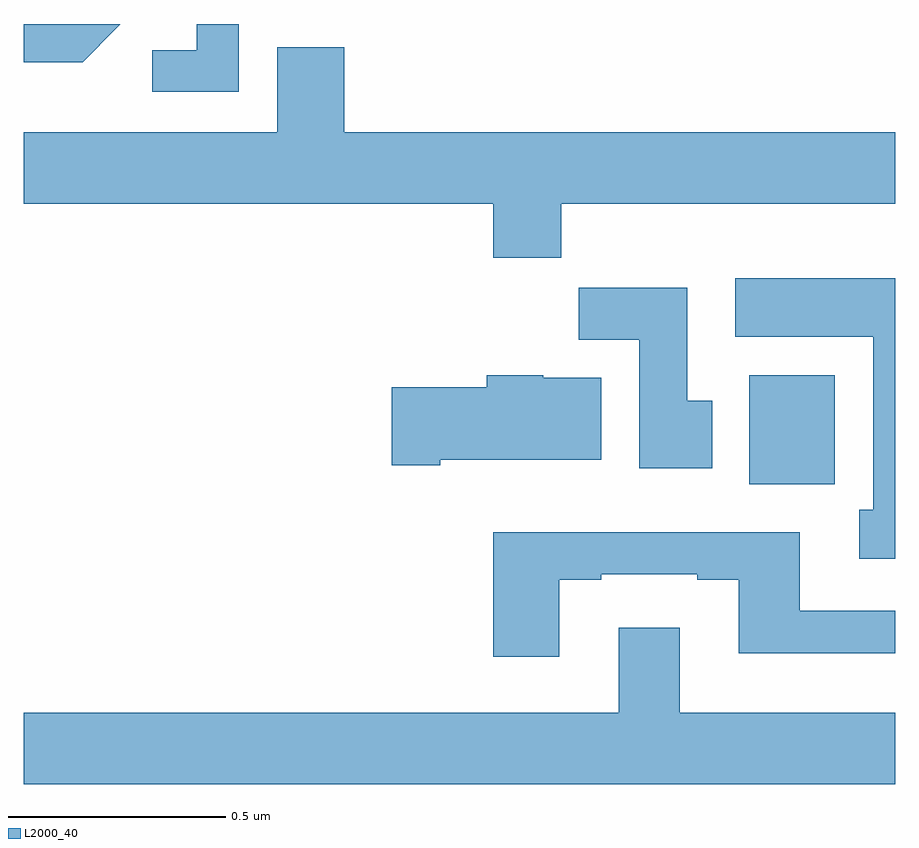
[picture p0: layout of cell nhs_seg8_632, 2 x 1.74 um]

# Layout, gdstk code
import gdstk
lib = gdstk.Library(unit=1e-6, precision=1e-09)
def R(c, l, rs):  # rectangles x0, y0, x1, y1
    for r in rs: c.add(gdstk.rectangle(r[:2], r[2:], *l))
def P(c, l, *ps):  # polygons
    for p in ps: c.add(gdstk.Polygon(p, *l))
L2000_40 = (2000, 40)

nhs_seg8_632 = lib.new_cell('nhs_seg8_632')
R(nhs_seg8_632, L2000_40, [(120.665,1127.844,120.861,1128.094)])
P(nhs_seg8_632, L2000_40, [(119.215,1128.893),(119.222,1128.9),(119,1128.9),(119,1128.812),(119.135,1128.812)],
  [(119.493,1128.9),(119.397,1128.9),(119.397,1128.84),(119.295,1128.84),(119.295,1128.744),(119.493,1128.744)],
  [(120.233,1128.488),(121,1128.488),(121,1128.652),(119.735,1128.652),(119.735,1128.847),(119.582,1128.847),(119.582,1128.652),(119,1128.652),(119,1128.488),(120.077,1128.488),(120.077,1128.364),(120.233,1128.364)],
  [(121,1128.316),(120.633,1128.316),(120.633,1128.182),(120.95,1128.182),(120.95,1127.785),(120.917,1127.785),(120.917,1127.673),(121,1127.673)],
  [(120.58,1128.036),(120.523,1128.036),(120.523,1128.295),(120.274,1128.295),(120.274,1128.176),(120.413,1128.176),(120.413,1127.88),(120.58,1127.88)],
  [(119.956,1127.9),(120.325,1127.9),(120.325,1128.088),(120.192,1128.088),(120.192,1128.094),(120.062,1128.094),(120.062,1128.066),(119.844,1128.066),(119.844,1127.888),(119.956,1127.888)],
  [(120.229,1127.625),(120.325,1127.625),(120.325,1127.637),(120.545,1127.637),(120.545,1127.625),(120.641,1127.625),(120.641,1127.456),(121,1127.456),(121,1127.553),(120.781,1127.553),(120.781,1127.734),(120.077,1127.734),(120.077,1127.448),(120.229,1127.448)],
  [(121,1127.32),(120.505,1127.32),(120.505,1127.515),(120.365,1127.515),(120.365,1127.32),(119,1127.32),(119,1127.156),(121,1127.156)])

lib.write_gds('nhs_seg8_632.gds')
